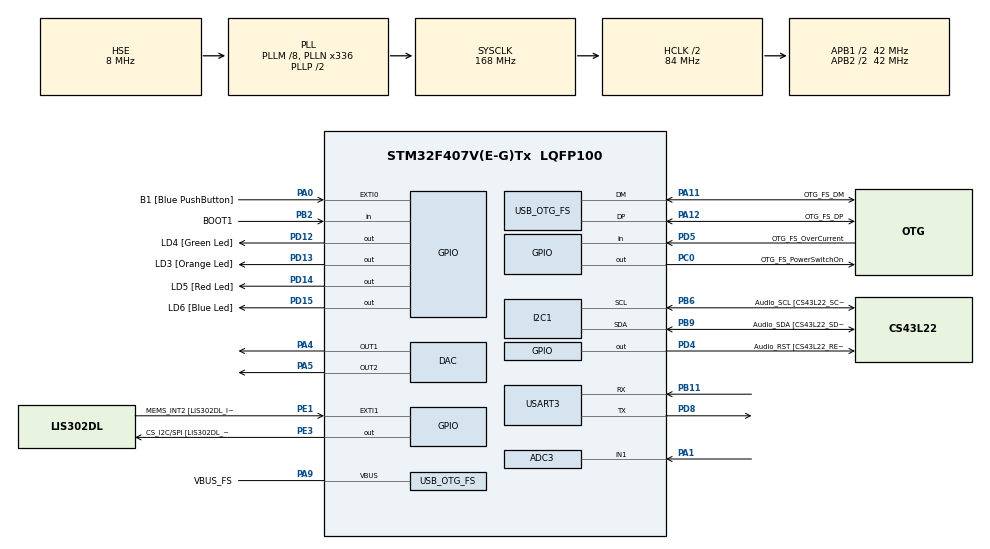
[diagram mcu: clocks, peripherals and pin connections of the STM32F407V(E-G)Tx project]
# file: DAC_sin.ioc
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ADC3.Channel-1\#ChannelRegularConversion=ADC_CHANNEL_1
ADC3.ContinuousConvMode=ENABLE
ADC3.DMAContinuousRequests=ENABLE
ADC3.NbrOfConversionFlag=1
ADC3.Rank-1\#ChannelRegularConversion=1
ADC3.SamplingTime-1\#ChannelRegularConversion=ADC_SAMPLETIME_3CYCLES
DAC.DAC_Trigger=DAC_TRIGGER_T2_TRGO
Dma.ADC3.1.Direction=DMA_PERIPH_TO_MEMORY
Dma.ADC3.1.FIFOMode=DMA_FIFOMODE_DISABLE
Dma.ADC3.1.Instance=DMA2_Stream0
Dma.ADC3.1.MemDataAlignment=DMA_MDATAALIGN_HALFWORD
Dma.ADC3.1.MemInc=DMA_MINC_ENABLE
Dma.ADC3.1.Mode=DMA_CIRCULAR
Dma.ADC3.1.PeriphDataAlignment=DMA_PDATAALIGN_HALFWORD
Dma.ADC3.1.PeriphInc=DMA_PINC_DISABLE
Dma.ADC3.1.Priority=DMA_PRIORITY_LOW
Dma.DAC1.0.Direction=DMA_MEMORY_TO_PERIPH
Dma.DAC1.0.FIFOMode=DMA_FIFOMODE_DISABLE
Dma.DAC1.0.Instance=DMA1_Stream5
Dma.DAC1.0.MemDataAlignment=DMA_MDATAALIGN_HALFWORD
Dma.DAC1.0.MemInc=DMA_MINC_ENABLE
Dma.DAC1.0.Mode=DMA_CIRCULAR
Dma.DAC1.0.PeriphDataAlignment=DMA_PDATAALIGN_HALFWORD
Dma.DAC1.0.PeriphInc=DMA_PINC_DISABLE
Dma.DAC1.0.Priority=DMA_PRIORITY_HIGH
Dma.Request0=DAC1
Dma.Request1=ADC3
Dma.Request2=TIM2_UP/CH3
Dma.TIM2_UP/CH3.2.Direction=DMA_PERIPH_TO_MEMORY
Dma.TIM2_UP/CH3.2.FIFOMode=DMA_FIFOMODE_DISABLE
Dma.TIM2_UP/CH3.2.Instance=DMA1_Stream1
Dma.TIM2_UP/CH3.2.MemDataAlignment=DMA_MDATAALIGN_WORD
Dma.TIM2_UP/CH3.2.MemInc=DMA_MINC_ENABLE
Dma.TIM2_UP/CH3.2.Mode=DMA_CIRCULAR
Dma.TIM2_UP/CH3.2.PeriphDataAlignment=DMA_PDATAALIGN_WORD
Dma.TIM2_UP/CH3.2.PeriphInc=DMA_PINC_DISABLE
Dma.TIM2_UP/CH3.2.Priority=DMA_PRIORITY_HIGH
Mcu.Family=STM32F4
Mcu.Name=STM32F407V(E-G)Tx
Mcu.Package=LQFP100
NVIC.DMA1_Stream1_IRQn=true\:0\:0\:false\:false\:true\:false\:true\:true
NVIC.DMA1_Stream5_IRQn=true\:0\:0\:false\:false\:true\:false\:true\:true
NVIC.DMA2_Stream0_IRQn=true\:0\:0\:false\:false\:true\:false\:true\:true
NVIC.OTG_FS_IRQn=true\:0\:0\:false\:false\:true\:false\:true\:true
NVIC.PriorityGroup=NVIC_PRIORITYGROUP_0
NVIC.TIM2_IRQn=true\:0\:0\:false\:false\:true\:true\:true\:true
PA0-WKUP.GPIO_Label=B1 [Blue PushButton]
PA0-WKUP.GPIO_ModeDefaultEXTI=GPIO_MODE_EVT_RISING
PA0-WKUP.GPIO_PuPd=GPIO_NOPULL
PA0-WKUP.Signal=GPXTI0
PA1.Signal=ADCx_IN1
PA10.GPIO_Label=OTG_FS_ID
PA10.GPIO_Mode=GPIO_MODE_AF_PP
PA10.GPIO_PuPd=GPIO_NOPULL
PA10.GPIO_Speed=GPIO_SPEED_FREQ_LOW
PA10.Signal=USB_OTG_FS_ID
PA11.GPIO_Label=OTG_FS_DM
PA11.GPIO_Mode=GPIO_MODE_AF_PP
PA11.GPIO_PuPd=GPIO_NOPULL
PA11.GPIO_Speed=GPIO_SPEED_FREQ_LOW
PA11.Mode=Device_Only
PA11.Signal=USB_OTG_FS_DM
PA12.GPIO_Label=OTG_FS_DP
PA12.GPIO_Mode=GPIO_MODE_AF_PP
PA12.GPIO_PuPd=GPIO_NOPULL
PA12.GPIO_Speed=GPIO_SPEED_FREQ_LOW
PA12.Mode=Device_Only
PA12.Signal=USB_OTG_FS_DP
PA13.GPIO_Label=SWDIO
PA13.Mode=Serial_Wire
PA13.Signal=SYS_JTMS-SWDIO
PA14.GPIO_Label=SWCLK
PA14.Mode=Serial_Wire
PA14.Signal=SYS_JTCK-SWCLK
PA4.Signal=COMP_DAC1_group
PA5.Signal=COMP_DAC2_group
PA6.GPIO_Label=SPI1_MISO [LIS302DL_SDO]
PA6.GPIO_Mode=GPIO_MODE_AF_PP
PA6.GPIO_PuPd=GPIO_NOPULL
PA6.GPIO_Speed=GPIO_SPEED_FREQ_LOW
PA6.Signal=SPI1_MISO
PA7.GPIO_Label=SPI1_MOSI [LIS302DL_SDA/SDI/SDO]
PA7.GPIO_Mode=GPIO_MODE_AF_PP
PA7.GPIO_PuPd=GPIO_NOPULL
PA7.GPIO_Speed=GPIO_SPEED_FREQ_LOW
PA7.Signal=SPI1_MOSI
PA9.GPIO_Label=VBUS_FS
PA9.GPIO_Mode=GPIO_MODE_INPUT
PA9.GPIO_PuPd=GPIO_NOPULL
PA9.Mode=Activate_VBUS
PA9.Signal=USB_OTG_FS_VBUS
PB10.GPIO_Label=CLK_IN [MP45DT02_CLK]
PB10.GPIO_Mode=GPIO_MODE_AF_PP
PB10.GPIO_PuPd=GPIO_NOPULL
PB10.GPIO_Speed=GPIO_SPEED_FREQ_LOW
PB10.Signal=I2S2_CK
PB11.Mode=Asynchronous
PB11.Signal=USART3_RX
PB2.GPIO_Label=BOOT1
PB2.GPIO_Mode=GPIO_MODE_INPUT
PB2.GPIO_PuPd=GPIO_NOPULL
PB2.Signal=GPIO_Input
PB3.GPIO_Label=SWO
PB3.Signal=SYS_JTDO-SWO
PB6.GPIO_Label=Audio_SCL [CS43L22_SCL]
PB6.GPIO_Mode=GPIO_MODE_AF_OD
PB6.GPIO_Pu=GPIO_PULLUP
PB6.GPIO_PuPd=GPIO_NOPULL
PB6.GPIO_Speed=GPIO_SPEED_FREQ_LOW
PB6.Mode=I2C
PB6.Signal=I2C1_SCL
PB9.GPIO_Label=Audio_SDA [CS43L22_SDA]
PB9.GPIO_Mode=GPIO_MODE_AF_OD
PB9.GPIO_Pu=GPIO_PULLUP
PB9.GPIO_PuPd=GPIO_NOPULL
PB9.GPIO_Speed=GPIO_SPEED_FREQ_LOW
PB9.Mode=I2C
PB9.Signal=I2C1_SDA
PC0.GPIO_Label=OTG_FS_PowerSwitchOn
PC0.GPIO_PuPd=GPIO_NOPULL
PC0.GPIO_Speed=GPIO_SPEED_FREQ_LOW
PC0.PinState=GPIO_PIN_SET
PC0.Signal=GPIO_Output
PC10.GPIO_Label=I2S3_SCK [CS43L22_SCLK]
PC10.GPIO_Mode=GPIO_MODE_AF_PP
PC10.GPIO_PuPd=GPIO_NOPULL
PC10.GPIO_Speed=GPIO_SPEED_FREQ_LOW
PC10.Signal=I2S3_CK
PC12.GPIO_Label=I2S3_SD [CS43L22_SDIN]
PC12.GPIO_Mode=GPIO_MODE_AF_PP
PC12.GPIO_PuPd=GPIO_NOPULL
PC12.GPIO_Speed=GPIO_SPEED_FREQ_LOW
PC12.Signal=I2S3_SD
PC14-OSC32_IN.GPIO_Label=PC14-OSC32_IN
PC14-OSC32_IN.Signal=RCC_OSC32_IN
PC15-OSC32_OUT.GPIO_Label=PC15-OSC32_OUT
PC15-OSC32_OUT.Signal=RCC_OSC32_OUT
PC3.GPIO_Label=PDM_OUT [MP45DT02_DOUT]
PC3.GPIO_Mode=GPIO_MODE_AF_PP
PC3.GPIO_PuPd=GPIO_NOPULL
PC3.GPIO_Speed=GPIO_SPEED_FREQ_LOW
PC3.Signal=I2S2_SD
PC7.GPIO_Label=I2S3_MCK [CS43L22_MCLK]
PC7.GPIO_Mode=GPIO_MODE_AF_PP
PC7.GPIO_PuPd=GPIO_NOPULL
PC7.GPIO_Speed=GPIO_SPEED_FREQ_LOW
PC7.Signal=I2S3_MCK
PD12.GPIO_Label=LD4 [Green Led]
PD12.GPIO_PuPd=GPIO_NOPULL
PD12.GPIO_Speed=GPIO_SPEED_FREQ_LOW
PD12.Signal=GPIO_Output
PD13.GPIO_Label=LD3 [Orange Led]
PD13.GPIO_PuPd=GPIO_NOPULL
PD13.GPIO_Speed=GPIO_SPEED_FREQ_LOW
PD13.Signal=GPIO_Output
PD14.GPIO_Label=LD5 [Red Led]
PD14.GPIO_PuPd=GPIO_NOPULL
PD14.GPIO_Speed=GPIO_SPEED_FREQ_LOW
PD14.Signal=GPIO_Output
PD15.GPIO_Label=LD6 [Blue Led]
PD15.GPIO_PuPd=GPIO_NOPULL
PD15.GPIO_Speed=GPIO_SPEED_FREQ_LOW
PD15.Signal=GPIO_Output
PD4.GPIO_Label=Audio_RST [CS43L22_RESET]
PD4.GPIO_PuPd=GPIO_NOPULL
PD4.GPIO_Speed=GPIO_SPEED_FREQ_LOW
PD4.Signal=GPIO_Output
PD5.GPIO_Label=OTG_FS_OverCurrent
PD5.GPIO_Mode=GPIO_MODE_INPUT
PD5.GPIO_PuPd=GPIO_NOPULL
PD5.Signal=GPIO_Input
PD8.Mode=Asynchronous
PD8.Signal=USART3_TX
PE1.GPIO_Label=MEMS_INT2 [LIS302DL_INT2]
PE1.GPIO_ModeDefaultEXTI=GPIO_MODE_EVT_RISING
PE1.GPIO_PuPd=GPIO_NOPULL
PE1.Signal=GPXTI1
PE3.GPIO_Label=CS_I2C/SPI [LIS302DL_CS_I2C/SPI]
PE3.GPIO_PuPd=GPIO_NOPULL
PE3.GPIO_Speed=GPIO_SPEED_FREQ_LOW
PE3.Signal=GPIO_Output
PH0-OSC_IN.GPIO_Label=PH0-OSC_IN
PH0-OSC_IN.Mode=HSE-External-Oscillator
PH0-OSC_IN.Signal=RCC_OSC_IN
PH1-OSC_OUT.GPIO_Label=PH1-OSC_OUT
PH1-OSC_OUT.Mode=HSE-External-Oscillator
PH1-OSC_OUT.Signal=RCC_OSC_OUT
ProjectManager.HeapSize=0x200
ProjectManager.StackSize=0x400
ProjectManager.TargetToolchain=STM32CubeIDE
RCC.48MHZClocksFreq_Value=48000000
RCC.AHBCLKDivider=RCC_SYSCLK_DIV2
RCC.AHBFreq_Value=84000000
RCC.APB1CLKDivider=RCC_HCLK_DIV2
RCC.APB1Freq_Value=42000000
RCC.APB1TimFreq_Value=84000000
RCC.APB2CLKDivider=RCC_HCLK_DIV2
RCC.APB2Freq_Value=42000000
RCC.APB2TimFreq_Value=84000000
RCC.CortexFreq_Value=84000000
RCC.HCLKFreq_Value=84000000
RCC.HSE_VALUE=8000000
RCC.HSI_VALUE=16000000
RCC.LSE_VALUE=32768
RCC.PLLM=8
RCC.PLLN=336
RCC.PLLQ=7
RCC.SYSCLKFreq_VALUE=168000000
RCC.SYSCLKSource=RCC_SYSCLKSOURCE_PLLCLK
RCC.VCOOutputFreq_Value=336000000
SH.ADCx_IN1.0=ADC3_IN1,IN1
SH.COMP_DAC1_group.0=DAC_OUT1,DAC_OUT1
SH.COMP_DAC2_group.0=DAC_OUT2,DAC_OUT2
TIM2.AutoReloadPreload=TIM_AUTORELOAD_PRELOAD_ENABLE
TIM2.Channel-Output\ Compare1\ No\ Output=TIM_CHANNEL_1
TIM2.Period=999
TIM2.Prescaler=10499
TIM2.TIM_MasterOutputTrigger=TIM_TRGO_UPDATE
USART3.VirtualMode=VM_ASYNC
USB_DEVICE.CLASS_NAME_FS=CDC
USB_DEVICE.VirtualMode-CDC_FS=Cdc
USB_DEVICE.VirtualModeFS=Cdc_FS
USB_OTG_FS.VirtualMode=Device_Only
VP_TIM2_VS_ClockSourceINT.Mode=Internal
VP_TIM2_VS_no_output1.Mode=Output Compare1 No Output
VP_USB_DEVICE_VS_USB_DEVICE_CDC_FS.Mode=CDC_FS
board=STM32F407G-DISC1

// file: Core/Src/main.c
/* USER CODE BEGIN Header */
/**
  ******************************************************************************
  * @file           : main.c
  * @brief          : Main program body
  ******************************************************************************
  * @attention
  *
  * Copyright (c) 2024 STMicroelectronics.
  * All rights reserved.
  *
  * This software is licensed under terms that can be found in the LICENSE file
  * in the root directory of this software component.
  * If no LICENSE file comes with this software, it is provided AS-IS.
  *
  ******************************************************************************
  */
/* USER CODE END Header */
#include "main.h"
#include "usb_device.h"

/* USER CODE BEGIN Includes */
#include "stm32f4xx_hal.h"
#include "math.h"

/* USER CODE END Includes */

/* USER CODE BEGIN PM */
#define PI 3.141592653
#define SAMPLING_FREQUENCY 8000 //8Khz Sampling frequency
#define SYSTEM_CLOCK 84000000
#define SINE_LUT_SIZE 256
#define MAX_SAFE_FTW 128 // Maximum FTW to avoid aliasing

//for testing purpose only
#define SIN_WAVE_10Khz 0
#define SIN_WAVE_20Khz 0
#define SIN_DDFS 1
/* USER CODE END PM */

ADC_HandleTypeDef hadc3;
DMA_HandleTypeDef hdma_adc3;

DAC_HandleTypeDef hdac;
DMA_HandleTypeDef hdma_dac1;

I2C_HandleTypeDef hi2c1;

TIM_HandleTypeDef htim2;
DMA_HandleTypeDef hdma_tim2_up_ch3;

UART_HandleTypeDef huart3;

/* USER CODE BEGIN PV */
uint16_t dac_value = 0;

uint32_t sine_wave_LUT[SINE_LUT_SIZE];
volatile uint8_t phase_accumulator = 0;
volatile uint8_t frequencyTuningWord = 0;

/* Frequency LUT */
float desired_frequency = 87.5; // can be changed

char buffer_uart [] = "Hello /n";
/* USER CODE END PV */

void SystemClock_Config(void);
static void MX_GPIO_Init(void);
static void MX_DMA_Init(void);
static void MX_I2C1_Init(void);
static void MX_DAC_Init(void);
static void MX_ADC3_Init(void);
static void MX_TIM2_Init(void);
static void MX_USART3_UART_Init(void);
/* USER CODE BEGIN PFP */
static void generate_sine_wave(void);
void DAC_Update(void);
void updatePhaseIncrement(float frequency);
/* USER CODE END PFP */

/* USER CODE BEGIN 0 */
void DAC_Update(void) {
    phase_accumulator += frequencyTuningWord;
    uint8_t index = phase_accumulator % SINE_LUT_SIZE;
    HAL_DAC_SetValue(&hdac, DAC_CHANNEL_1, DAC_ALIGN_12B_R, sine_wave_LUT[index]);
}

void updatePhaseIncrement(float frequency) {
    // Calculate the frequency tuning word (FTW) using integer arithmetic
    uint32_t ftw = (frequency * SINE_LUT_SIZE) / SAMPLING_FREQUENCY;
    if (ftw > MAX_SAFE_FTW) {
        ftw = MAX_SAFE_FTW; // Limit FTW to avoid aliasing
    }
    frequencyTuningWord = (uint8_t)ftw;
}

/**
 * @brief to generate sine wave
 * @retrival none
 */
static void generate_sine_wave() {

#if SIN_DDFS
	for(uint16_t i = 0; i < SINE_LUT_SIZE; i++){
		sine_wave_LUT[i] = (uint32_t)sin((2.0f * PI * i/SINE_LUT_SIZE)*1822 + 2046);
	}
#endif

}
// (0x0E0) to (0xF1C) --> offset 7FE / 2046
// read VDDA
/* Timer 6 interrupt handler */
void HAL_TIM_PeriodElapsedCallback(TIM_HandleTypeDef *htim) {
    if (htim->Instance == TIM6) {
        DAC_Update(); // Update DAC output
    }
}

/* USER CODE END 0 */

int main(void)
{

  /* MCU Configuration--------------------------------------------------------*/

  /* Reset of all peripherals, Initializes the Flash interface and the Systick. */
  HAL_Init();

  /* Configure the system clock */
  SystemClock_Config();

  /* Initialize all configured peripherals */
  MX_GPIO_Init();
  MX_DMA_Init();
  MX_I2C1_Init();
  MX_DAC_Init();
  MX_ADC3_Init();
  MX_TIM2_Init();
  MX_USART3_UART_Init();
  MX_USB_DEVICE_Init();
  /* USER CODE BEGIN 2 */
  generate_sine_wave();

  HAL_DAC_Start_DMA(&hdac, DAC_CHANNEL_1, (uint32_t *)sine_wave_LUT, SINE_LUT_SIZE, DAC_ALIGN_12B_R);
  HAL_TIM_Base_Start(&htim6);
  //HAL_DAC_Start(&hdac, DAC_CHANNEL_2);

  /*
  HAL_UART_Transmit(&huart3,(uint8_t *)buffer_uart,sizeof(buffer_uart),100);
  HAL_ADC_Start_DMA(&hadc3, (uint32_t *) adc_buffer, ADC_BUFFER_SIZE);
  */

  updatePhaseIncrement(87.5);
  /* USER CODE END 2 */

  /* Infinite loop */
  while (1)
  {

    /* USER CODE BEGIN 3 */
	  for(float freq = 87.5; freq <= 830; freq += 1) {
		  updatePhaseIncrement(freq);
		  HAL_Delay(1000);
	  }
  }
  /* USER CODE END 3 */
}

void SystemClock_Config(void)
{
  RCC_OscInitTypeDef RCC_OscInitStruct = {0};
  RCC_ClkInitTypeDef RCC_ClkInitStruct = {0};

  /** Configure the main internal regulator output voltage
  */
  __HAL_RCC_PWR_CLK_ENABLE();
  __HAL_PWR_VOLTAGESCALING_CONFIG(PWR_REGULATOR_VOLTAGE_SCALE1);

  /** Initializes the RCC Oscillators according to the specified parameters
  * in the RCC_OscInitTypeDef structure.
  */
  RCC_OscInitStruct.OscillatorType = RCC_OSCILLATORTYPE_HSE;
  RCC_OscInitStruct.HSEState = RCC_HSE_ON;
  RCC_OscInitStruct.PLL.PLLState = RCC_PLL_ON;
  RCC_OscInitStruct.PLL.PLLSource = RCC_PLLSOURCE_HSE;
  RCC_OscInitStruct.PLL.PLLM = 8;
  RCC_OscInitStruct.PLL.PLLN = 336;
  RCC_OscInitStruct.PLL.PLLP = RCC_PLLP_DIV2;
  RCC_OscInitStruct.PLL.PLLQ = 7;
  if (HAL_RCC_OscConfig(&RCC_OscInitStruct) != HAL_OK)
  {
    Error_Handler();
  }

  /** Initializes the CPU, AHB and APB buses clocks
  */
  RCC_ClkInitStruct.ClockType = RCC_CLOCKTYPE_HCLK|RCC_CLOCKTYPE_SYSCLK
                              |RCC_CLOCKTYPE_PCLK1|RCC_CLOCKTYPE_PCLK2;
  RCC_ClkInitStruct.SYSCLKSource = RCC_SYSCLKSOURCE_PLLCLK;
  RCC_ClkInitStruct.AHBCLKDivider = RCC_SYSCLK_DIV2;
  RCC_ClkInitStruct.APB1CLKDivider = RCC_HCLK_DIV2;
  RCC_ClkInitStruct.APB2CLKDivider = RCC_HCLK_DIV2;

  if (HAL_RCC_ClockConfig(&RCC_ClkInitStruct, FLASH_LATENCY_2) != HAL_OK)
  {
    Error_Handler();
  }
}

static void MX_ADC3_Init(void)
{

  ADC_ChannelConfTypeDef sConfig = {0};

  /** Configure the global features of the ADC (Clock, Resolution, Data Alignment and number of conversion)
  */
  hadc3.Instance = ADC3;
  hadc3.Init.ClockPrescaler = ADC_CLOCK_SYNC_PCLK_DIV2;
  hadc3.Init.Resolution = ADC_RESOLUTION_12B;
  hadc3.Init.ScanConvMode = DISABLE;
  hadc3.Init.ContinuousConvMode = ENABLE;
  hadc3.Init.DiscontinuousConvMode = DISABLE;
  hadc3.Init.ExternalTrigConvEdge = ADC_EXTERNALTRIGCONVEDGE_NONE;
  hadc3.Init.ExternalTrigConv = ADC_SOFTWARE_START;
  hadc3.Init.DataAlign = ADC_DATAALIGN_RIGHT;
  hadc3.Init.NbrOfConversion = 1;
  hadc3.Init.DMAContinuousRequests = ENABLE;
  hadc3.Init.EOCSelection = ADC_EOC_SINGLE_CONV;
  if (HAL_ADC_Init(&hadc3) != HAL_OK)
  {
    Error_Handler();
  }

  /** Configure for the selected ADC regular channel its corresponding rank in the sequencer and its sample time.
  */
  sConfig.Channel = ADC_CHANNEL_1;
  sConfig.Rank = 1;
  sConfig.SamplingTime = ADC_SAMPLETIME_3CYCLES;
  if (HAL_ADC_ConfigChannel(&hadc3, &sConfig) != HAL_OK)
  {
    Error_Handler();
  }

}

static void MX_DAC_Init(void)
{

  DAC_ChannelConfTypeDef sConfig = {0};

  /** DAC Initialization
  */
  hdac.Instance = DAC;
  if (HAL_DAC_Init(&hdac) != HAL_OK)
  {
    Error_Handler();
  }

  /** DAC channel OUT1 config
  */
  sConfig.DAC_Trigger = DAC_TRIGGER_T2_TRGO;
  sConfig.DAC_OutputBuffer = DAC_OUTPUTBUFFER_ENABLE;
  if (HAL_DAC_ConfigChannel(&hdac, &sConfig, DAC_CHANNEL_1) != HAL_OK)
  {
    Error_Handler();
  }

  /** DAC channel OUT2 config
  */
  sConfig.DAC_Trigger = DAC_TRIGGER_NONE;
  if (HAL_DAC_ConfigChannel(&hdac, &sConfig, DAC_CHANNEL_2) != HAL_OK)
  {
    Error_Handler();
  }

}

static void MX_I2C1_Init(void)
{

  hi2c1.Instance = I2C1;
  hi2c1.Init.ClockSpeed = 100000;
  hi2c1.Init.DutyCycle = I2C_DUTYCYCLE_2;
  hi2c1.Init.OwnAddress1 = 0;
  hi2c1.Init.AddressingMode = I2C_ADDRESSINGMODE_7BIT;
  hi2c1.Init.DualAddressMode = I2C_DUALADDRESS_DISABLE;
  hi2c1.Init.OwnAddress2 = 0;
  hi2c1.Init.GeneralCallMode = I2C_GENERALCALL_DISABLE;
  hi2c1.Init.NoStretchMode = I2C_NOSTRETCH_DISABLE;
  if (HAL_I2C_Init(&hi2c1) != HAL_OK)
  {
    Error_Handler();
  }

}

static void MX_TIM2_Init(void)
{

  TIM_ClockConfigTypeDef sClockSourceConfig = {0};
  TIM_MasterConfigTypeDef sMasterConfig = {0};
  TIM_OC_InitTypeDef sConfigOC = {0};

  htim2.Instance = TIM2;
  htim2.Init.Prescaler = 10499;
  htim2.Init.CounterMode = TIM_COUNTERMODE_UP;
  htim2.Init.Period = 999;
  htim2.Init.ClockDivision = TIM_CLOCKDIVISION_DIV1;
  htim2.Init.AutoReloadPreload = TIM_AUTORELOAD_PRELOAD_ENABLE;
  if (HAL_TIM_Base_Init(&htim2) != HAL_OK)
  {
    Error_Handler();
  }
  sClockSourceConfig.ClockSource = TIM_CLOCKSOURCE_INTERNAL;
  if (HAL_TIM_ConfigClockSource(&htim2, &sClockSourceConfig) != HAL_OK)
  {
    Error_Handler();
  }
  if (HAL_TIM_OC_Init(&htim2) != HAL_OK)
  {
    Error_Handler();
  }
  sMasterConfig.MasterOutputTrigger = TIM_TRGO_UPDATE;
  sMasterConfig.MasterSlaveMode = TIM_MASTERSLAVEMODE_DISABLE;
  if (HAL_TIMEx_MasterConfigSynchronization(&htim2, &sMasterConfig) != HAL_OK)
  {
    Error_Handler();
  }
  sConfigOC.OCMode = TIM_OCMODE_TIMING;
  sConfigOC.Pulse = 0;
  sConfigOC.OCPolarity = TIM_OCPOLARITY_HIGH;
  sConfigOC.OCFastMode = TIM_OCFAST_DISABLE;
  if (HAL_TIM_OC_ConfigChannel(&htim2, &sConfigOC, TIM_CHANNEL_1) != HAL_OK)
  {
    Error_Handler();
  }

}

static void MX_USART3_UART_Init(void)
{

  huart3.Instance = USART3;
  huart3.Init.BaudRate = 115200;
  huart3.Init.WordLength = UART_WORDLENGTH_8B;
  huart3.Init.StopBits = UART_STOPBITS_1;
  huart3.Init.Parity = UART_PARITY_NONE;
  huart3.Init.Mode = UART_MODE_TX_RX;
  huart3.Init.HwFlowCtl = UART_HWCONTROL_NONE;
  huart3.Init.OverSampling = UART_OVERSAMPLING_16;
  if (HAL_UART_Init(&huart3) != HAL_OK)
  {
    Error_Handler();
  }

}

static void MX_DMA_Init(void)
{

  /* DMA controller clock enable */
  __HAL_RCC_DMA1_CLK_ENABLE();
  __HAL_RCC_DMA2_CLK_ENABLE();

  /* DMA interrupt init */
  /* DMA1_Stream1_IRQn interrupt configuration */
  HAL_NVIC_SetPriority(DMA1_Stream1_IRQn, 0, 0);
  HAL_NVIC_EnableIRQ(DMA1_Stream1_IRQn);
  /* DMA1_Stream5_IRQn interrupt configuration */
  HAL_NVIC_SetPriority(DMA1_Stream5_IRQn, 0, 0);
  HAL_NVIC_EnableIRQ(DMA1_Stream5_IRQn);
  /* DMA2_Stream0_IRQn interrupt configuration */
  HAL_NVIC_SetPriority(DMA2_Stream0_IRQn, 0, 0);
  HAL_NVIC_EnableIRQ(DMA2_Stream0_IRQn);

}

static void MX_GPIO_Init(void)
{
  GPIO_InitTypeDef GPIO_InitStruct = {0};

  /* GPIO Ports Clock Enable */
  __HAL_RCC_GPIOE_CLK_ENABLE();
  __HAL_RCC_GPIOC_CLK_ENABLE();
  __HAL_RCC_GPIOH_CLK_ENABLE();
  __HAL_RCC_GPIOA_CLK_ENABLE();
  __HAL_RCC_GPIOB_CLK_ENABLE();
  __HAL_RCC_GPIOD_CLK_ENABLE();

  /*Configure GPIO pin Output Level */
  HAL_GPIO_WritePin(CS_I2C_SPI_GPIO_Port, CS_I2C_SPI_Pin, GPIO_PIN_RESET);

  /*Configure GPIO pin Output Level */
  HAL_GPIO_WritePin(OTG_FS_PowerSwitchOn_GPIO_Port, OTG_FS_PowerSwitchOn_Pin, GPIO_PIN_SET);

  /*Configure GPIO pin Output Level */
  HAL_GPIO_WritePin(GPIOD, LD4_Pin|LD3_Pin|LD5_Pin|LD6_Pin
                          |Audio_RST_Pin, GPIO_PIN_RESET);

  /*Configure GPIO pin : CS_I2C_SPI_Pin */
  GPIO_InitStruct.Pin = CS_I2C_SPI_Pin;
  GPIO_InitStruct.Mode = GPIO_MODE_OUTPUT_PP;
  GPIO_InitStruct.Pull = GPIO_NOPULL;
  GPIO_InitStruct.Speed = GPIO_SPEED_FREQ_LOW;
  HAL_GPIO_Init(CS_I2C_SPI_GPIO_Port, &GPIO_InitStruct);

  /*Configure GPIO pin : OTG_FS_PowerSwitchOn_Pin */
  GPIO_InitStruct.Pin = OTG_FS_PowerSwitchOn_Pin;
  GPIO_InitStruct.Mode = GPIO_MODE_OUTPUT_PP;
  GPIO_InitStruct.Pull = GPIO_NOPULL;
  GPIO_InitStruct.Speed = GPIO_SPEED_FREQ_LOW;
  HAL_GPIO_Init(OTG_FS_PowerSwitchOn_GPIO_Port, &GPIO_InitStruct);

  /*Configure GPIO pin : PDM_OUT_Pin */
  GPIO_InitStruct.Pin = PDM_OUT_Pin;
  GPIO_InitStruct.Mode = GPIO_MODE_AF_PP;
  GPIO_InitStruct.Pull = GPIO_NOPULL;
  GPIO_InitStruct.Speed = GPIO_SPEED_FREQ_LOW;
  GPIO_InitStruct.Alternate = GPIO_AF5_SPI2;
  HAL_GPIO_Init(PDM_OUT_GPIO_Port, &GPIO_InitStruct);

  /*Configure GPIO pin : B1_Pin */
  GPIO_InitStruct.Pin = B1_Pin;
  GPIO_InitStruct.Mode = GPIO_MODE_EVT_RISING;
  GPIO_InitStruct.Pull = GPIO_NOPULL;
  HAL_GPIO_Init(B1_GPIO_Port, &GPIO_InitStruct);

  /*Configure GPIO pins : SPI1_MISO_Pin SPI1_MOSI_Pin */
  GPIO_InitStruct.Pin = SPI1_MISO_Pin|SPI1_MOSI_Pin;
  GPIO_InitStruct.Mode = GPIO_MODE_AF_PP;
  GPIO_InitStruct.Pull = GPIO_NOPULL;
  GPIO_InitStruct.Speed = GPIO_SPEED_FREQ_LOW;
  GPIO_InitStruct.Alternate = GPIO_AF5_SPI1;
  HAL_GPIO_Init(GPIOA, &GPIO_InitStruct);

  /*Configure GPIO pin : BOOT1_Pin */
  GPIO_InitStruct.Pin = BOOT1_Pin;
  GPIO_InitStruct.Mode = GPIO_MODE_INPUT;
  GPIO_InitStruct.Pull = GPIO_NOPULL;
  HAL_GPIO_Init(BOOT1_GPIO_Port, &GPIO_InitStruct);

  /*Configure GPIO pin : CLK_IN_Pin */
  GPIO_InitStruct.Pin = CLK_IN_Pin;
  GPIO_InitStruct.Mode = GPIO_MODE_AF_PP;
  GPIO_InitStruct.Pull = GPIO_NOPULL;
  GPIO_InitStruct.Speed = GPIO_SPEED_FREQ_LOW;
  GPIO_InitStruct.Alternate = GPIO_AF5_SPI2;
  HAL_GPIO_Init(CLK_IN_GPIO_Port, &GPIO_InitStruct);

  /*Configure GPIO pins : LD4_Pin LD3_Pin LD5_Pin LD6_Pin
                           Audio_RST_Pin */
  GPIO_InitStruct.Pin = LD4_Pin|LD3_Pin|LD5_Pin|LD6_Pin
                          |Audio_RST_Pin;
  GPIO_InitStruct.Mode = GPIO_MODE_OUTPUT_PP;
  GPIO_InitStruct.Pull = GPIO_NOPULL;
  GPIO_InitStruct.Speed = GPIO_SPEED_FREQ_LOW;
  HAL_GPIO_Init(GPIOD, &GPIO_InitStruct);

  /*Configure GPIO pins : I2S3_MCK_Pin I2S3_SCK_Pin I2S3_SD_Pin */
  GPIO_InitStruct.Pin = I2S3_MCK_Pin|I2S3_SCK_Pin|I2S3_SD_Pin;
  GPIO_InitStruct.Mode = GPIO_MODE_AF_PP;
  GPIO_InitStruct.Pull = GPIO_NOPULL;
  GPIO_InitStruct.Speed = GPIO_SPEED_FREQ_LOW;
  GPIO_InitStruct.Alternate = GPIO_AF6_SPI3;
  HAL_GPIO_Init(GPIOC, &GPIO_InitStruct);

  /*Configure GPIO pin : OTG_FS_OverCurrent_Pin */
  GPIO_InitStruct.Pin = OTG_FS_OverCurrent_Pin;
  GPIO_InitStruct.Mode = GPIO_MODE_INPUT;
  GPIO_InitStruct.Pull = GPIO_NOPULL;
  HAL_GPIO_Init(OTG_FS_OverCurrent_GPIO_Port, &GPIO_InitStruct);

  /*Configure GPIO pin : MEMS_INT2_Pin */
  GPIO_InitStruct.Pin = MEMS_INT2_Pin;
  GPIO_InitStruct.Mode = GPIO_MODE_EVT_RISING;
  GPIO_InitStruct.Pull = GPIO_NOPULL;
  HAL_GPIO_Init(MEMS_INT2_GPIO_Port, &GPIO_InitStruct);

}

void Error_Handler(void)
{
  __disable_irq();
  while (1)
  {
  }
}
